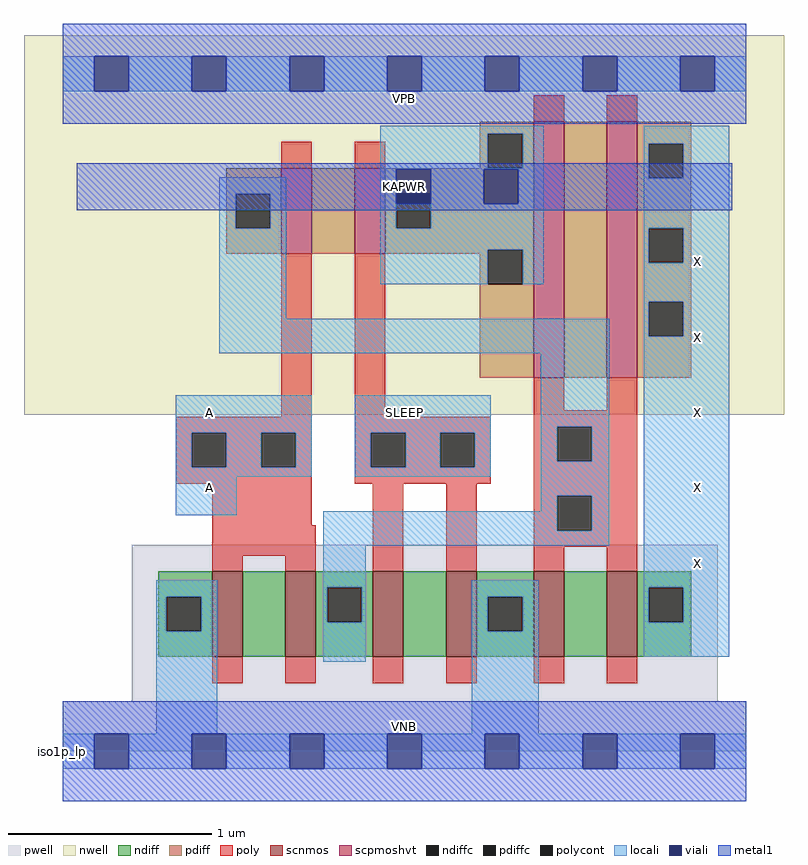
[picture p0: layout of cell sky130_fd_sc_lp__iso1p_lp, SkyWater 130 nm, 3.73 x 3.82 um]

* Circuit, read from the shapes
.subckt sky130_fd_sc_lp__iso1p_lp A KAPWR SLEEP VGND VNB VPB VPWR X
XM1 n1 A VGND VNB sky130_fd_pr__nfet_01v8 w=0.42 l=0.15
XM2 n2 A n1 VNB sky130_fd_pr__nfet_01v8 w=0.42 l=0.15
XM3 n3 SLEEP n2 VNB sky130_fd_pr__nfet_01v8 w=0.42 l=0.15
XM4 VGND SLEEP n3 VNB sky130_fd_pr__nfet_01v8 w=0.42 l=0.15
XM5 n4 n2 VGND VNB sky130_fd_pr__nfet_01v8 w=0.42 l=0.15
XM6 X n2 n4 VNB sky130_fd_pr__nfet_01v8 w=0.42 l=0.15
XM7 n5 A n2 VPB sky130_fd_pr__pfet_01v8_hvt w=0.42 l=0.15
XM8 KAPWR SLEEP n5 VPB sky130_fd_pr__pfet_01v8_hvt w=0.42 l=0.15
XM9 n6 n2 KAPWR VPB sky130_fd_pr__pfet_01v8_hvt w=1.26 l=0.15
XM10 X n2 n6 VPB sky130_fd_pr__pfet_01v8_hvt w=1.26 l=0.15
.ends

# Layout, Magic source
magic
tech sky130A
magscale 1 2
<< nwell >>
rect -38 331 709 704
<< pwell >>
rect 68 49 644 203
rect 0 0 672 49
<< scnmos >>
rect 147 93 177 177
rect 219 93 249 177
rect 305 93 335 177
rect 377 93 407 177
rect 463 93 493 177
rect 535 93 565 177
<< scpmoshvt >>
rect 215 489 245 573
rect 287 489 317 573
rect 463 367 493 619
rect 535 367 565 619
<< ndiff >>
rect 94 152 147 177
rect 94 118 102 152
rect 136 118 147 152
rect 94 93 147 118
rect 177 93 219 177
rect 249 161 305 177
rect 249 127 260 161
rect 294 127 305 161
rect 249 93 305 127
rect 335 93 377 177
rect 407 152 463 177
rect 407 118 418 152
rect 452 118 463 152
rect 407 93 463 118
rect 493 93 535 177
rect 565 161 618 177
rect 565 127 576 161
rect 610 127 618 161
rect 565 93 618 127
<< pdiff >>
rect 410 607 463 619
rect 410 573 418 607
rect 452 573 463 607
rect 161 548 215 573
rect 161 514 170 548
rect 204 514 215 548
rect 161 489 215 514
rect 245 489 287 573
rect 317 548 463 573
rect 317 514 328 548
rect 362 514 463 548
rect 317 493 463 514
rect 317 489 418 493
rect 410 459 418 489
rect 452 459 463 493
rect 410 367 463 459
rect 493 367 535 619
rect 565 597 618 619
rect 565 563 576 597
rect 610 563 618 597
rect 565 514 618 563
rect 565 480 576 514
rect 610 480 618 514
rect 565 442 618 480
rect 565 408 576 442
rect 610 408 618 442
rect 565 367 618 408
<< ndiffc >>
rect 102 118 136 152
rect 260 127 294 161
rect 418 118 452 152
rect 576 127 610 161
<< pdiffc >>
rect 418 573 452 607
rect 170 514 204 548
rect 328 514 362 548
rect 418 459 452 493
rect 576 563 610 597
rect 576 480 610 514
rect 576 408 610 442
<< poly >>
rect 463 619 493 645
rect 535 619 565 645
rect 215 573 245 599
rect 287 573 317 599
rect 215 329 245 489
rect 111 313 245 329
rect 111 279 127 313
rect 161 279 195 313
rect 229 279 245 313
rect 111 263 245 279
rect 287 329 317 489
rect 463 335 493 367
rect 535 335 565 367
rect 287 313 421 329
rect 287 279 303 313
rect 337 279 371 313
rect 405 279 421 313
rect 287 263 421 279
rect 463 319 565 335
rect 463 285 486 319
rect 520 285 565 319
rect 147 222 245 263
rect 147 192 249 222
rect 147 177 177 192
rect 219 177 249 192
rect 305 177 335 263
rect 377 177 407 263
rect 463 251 565 285
rect 463 217 486 251
rect 520 217 565 251
rect 463 201 565 217
rect 463 177 493 201
rect 535 177 565 201
rect 147 67 177 93
rect 219 67 249 93
rect 305 67 335 93
rect 377 67 407 93
rect 463 67 493 93
rect 535 67 565 93
<< polycont >>
rect 127 279 161 313
rect 195 279 229 313
rect 303 279 337 313
rect 371 279 405 313
rect 486 285 520 319
rect 486 217 520 251
<< locali >>
rect 0 649 31 683
rect 65 649 127 683
rect 161 649 223 683
rect 257 649 319 683
rect 353 649 415 683
rect 449 649 511 683
rect 545 649 607 683
rect 641 649 672 683
rect 312 607 473 615
rect 312 573 418 607
rect 452 573 473 607
rect 312 572 473 573
rect 154 548 220 564
rect 154 514 170 548
rect 204 514 220 548
rect 154 425 220 514
rect 312 514 328 572
rect 362 538 414 572
rect 448 538 473 572
rect 362 514 473 538
rect 312 493 473 514
rect 312 459 418 493
rect 452 459 473 493
rect 571 597 655 615
rect 571 563 576 597
rect 610 563 655 597
rect 571 514 655 563
rect 571 480 576 514
rect 610 480 655 514
rect 571 442 655 480
rect 154 391 537 425
rect 111 313 245 350
rect 111 279 127 313
rect 161 279 195 313
rect 229 279 245 313
rect 111 270 245 279
rect 287 313 421 350
rect 287 279 303 313
rect 337 279 371 313
rect 405 279 421 313
rect 287 270 421 279
rect 470 319 537 391
rect 470 285 486 319
rect 520 285 537 319
rect 111 232 171 270
rect 470 251 537 285
rect 470 236 486 251
rect 256 217 486 236
rect 520 217 537 251
rect 256 202 537 217
rect 571 408 576 442
rect 610 408 655 442
rect 92 152 152 168
rect 92 118 102 152
rect 136 118 152 152
rect 92 17 152 118
rect 256 161 298 202
rect 256 127 260 161
rect 294 127 298 161
rect 256 88 298 127
rect 402 152 468 168
rect 402 118 418 152
rect 452 118 468 152
rect 402 17 468 118
rect 571 161 655 408
rect 571 127 576 161
rect 610 127 655 161
rect 571 93 655 127
rect 0 -17 31 17
rect 65 -17 127 17
rect 161 -17 223 17
rect 257 -17 319 17
rect 353 -17 415 17
rect 449 -17 511 17
rect 545 -17 607 17
rect 641 -17 672 17
<< viali >>
rect 31 649 65 683
rect 127 649 161 683
rect 223 649 257 683
rect 319 649 353 683
rect 415 649 449 683
rect 511 649 545 683
rect 607 649 641 683
rect 328 548 362 572
rect 328 538 362 548
rect 414 538 448 572
rect 31 -17 65 17
rect 127 -17 161 17
rect 223 -17 257 17
rect 319 -17 353 17
rect 415 -17 449 17
rect 511 -17 545 17
rect 607 -17 641 17
<< metal1 >>
rect 0 683 672 715
rect 0 649 31 683
rect 65 649 127 683
rect 161 649 223 683
rect 257 649 319 683
rect 353 649 415 683
rect 449 649 511 683
rect 545 649 607 683
rect 641 649 672 683
rect 0 617 672 649
rect 14 572 658 578
rect 14 538 328 572
rect 362 538 414 572
rect 448 538 658 572
rect 14 532 658 538
rect 0 17 672 49
rect 0 -17 31 17
rect 65 -17 127 17
rect 161 -17 223 17
rect 257 -17 319 17
rect 353 -17 415 17
rect 449 -17 511 17
rect 545 -17 607 17
rect 641 -17 672 17
rect 0 -49 672 -17
<< labels >>
flabel locali s 127 242 161 276 0 FreeSans 200 0 0 0 A
port 1 nsew signal input
flabel locali s 607 168 641 202 0 FreeSans 200 0 0 0 X
port 8 nsew signal output
flabel locali s 607 464 641 498 0 FreeSans 200 0 0 0 X
port 8 nsew signal output
flabel locali s 607 390 641 424 0 FreeSans 200 0 0 0 X
port 8 nsew signal output
flabel locali s 607 242 641 276 0 FreeSans 200 0 0 0 X
port 8 nsew signal output
flabel locali s 319 316 353 350 0 FreeSans 200 0 0 0 SLEEP
port 3 nsew signal input
flabel locali s 607 316 641 350 0 FreeSans 200 0 0 0 X
port 8 nsew signal output
flabel locali s 127 316 161 350 0 FreeSans 200 0 0 0 A
port 1 nsew signal input
flabel pwell s 0 0 672 49 0 FreeSans 200 0 0 0 VNB
port 5 nsew ground bidirectional
flabel nwell s 0 617 672 666 0 FreeSans 200 0 0 0 VPB
port 6 nsew power bidirectional
rlabel comment s 0 0 0 0 4 iso1p_lp
flabel metal1 s 14 532 658 578 0 FreeSans 340 0 0 0 KAPWR
port 2 nsew power bidirectional
flabel metal1 s 0 617 672 666 0 FreeSans 200 0 0 0 VPWR
port 7 nsew power bidirectional
flabel metal1 s 0 0 672 49 0 FreeSans 200 0 0 0 VGND
port 4 nsew ground bidirectional
<< properties >>
string LEFsite unit
string LEFclass CORE
string FIXED_BBOX 0 0 672 666
string GDS_FILE $PDKPATH/libs.ref/sky130_fd_sc_lp/gds/sky130_fd_sc_lp.gds
string LEFsymmetry X Y R90
string GDS_END 5633270
string GDS_START 5627618
<< end >>
